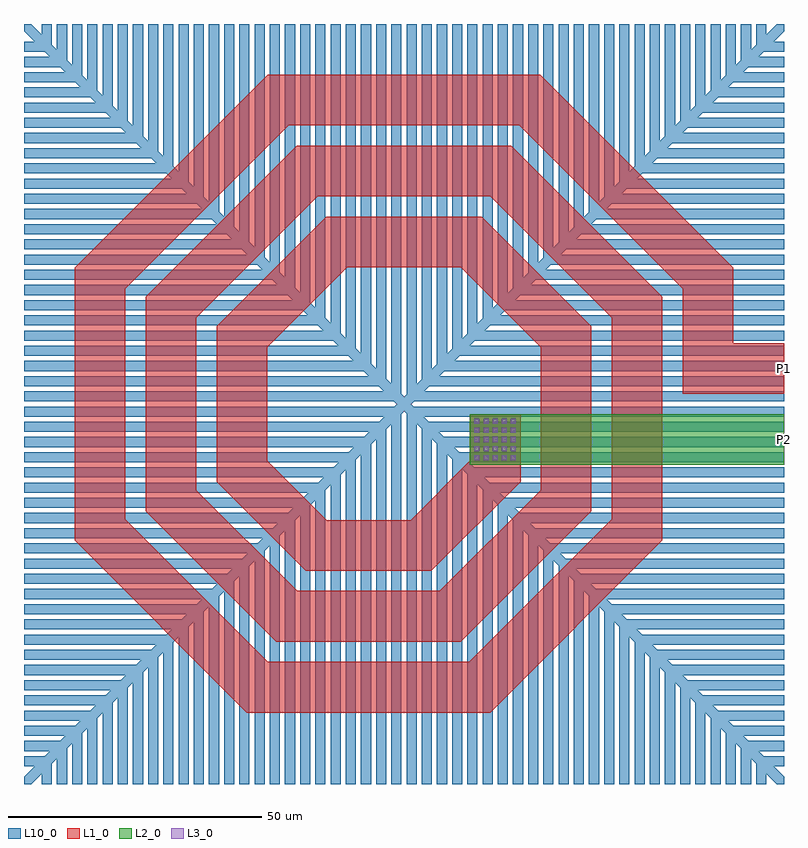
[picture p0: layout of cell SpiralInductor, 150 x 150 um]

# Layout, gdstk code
import gdstk
lib = gdstk.Library(unit=1e-6, precision=1e-09)
def R(c, l, rs):  # rectangles x0, y0, x1, y1
    for r in rs: c.add(gdstk.rectangle(r[:2], r[2:], *l))
def A(c, l, x, y, w, h, nx, ny, dx, dy):  # array of equal rectangles
    R(c, l, [(x+i*dx, y+j*dy, x+i*dx+w, y+j*dy+h) for i in range(nx) for j in range(ny)])
def P(c, l, *ps):  # polygons
    for p in ps: c.add(gdstk.Polygon(p, *l))
L1_0 = (1, 0)
L2_0 = (2, 0)
L3_0 = (3, 0)
L10_0 = (10, 0)

spiralinductor = lib.new_cell('SpiralInductor')
P(spiralinductor, L1_0, [(75,12),(65,12),(65,26.924),(26.924,65),(-26.924,65),(-65,26.924),(-65,-26.924),(-31.024,-60.899),(17.024,-60.899),(51,-26.924),(51,21.125),(21.125,51),(-21.125,51),(-51,21.125),(-51,-21.125),(-25.225,-46.899),(11.225,-46.899),(37,-21.125),(37,15.326),(15.326,37),(-15.326,37),(-37,15.326),(-37,-15.326),(-19.426,-32.899),(5.426,-32.899),(23,-15.326),(23,-2),(13,-2),(13,-11.184),(1.284,-22.899),(-15.284,-22.899),(-27,-11.184),(-27,11.184),(-11.184,27),(11.184,27),(27,11.184),(27,-16.983),(7.083,-36.899),(-21.083,-36.899),(-41,-16.983),(-41,16.983),(-16.983,41),(16.983,41),(41,16.983),(41,-22.782),(12.882,-50.899),(-26.882,-50.899),(-55,-22.782),(-55,22.782),(-22.782,55),(22.782,55),(55,22.782),(55,2),(75,2)])
R(spiralinductor, L2_0, [(13,-12,75,-2)])
A(spiralinductor, L3_0, 13.9, -11.1, 1, 1, 5, 5, 1.8, 1.8)
P(spiralinductor, L10_0, [(-1.914,0.5),(-75,0.5),(-75,2.5),(-3.914,2.5)],
  [(1.914,0.5),(75,0.5),(75,2.5),(3.914,2.5)],
  [(-1.914,-0.5),(-75,-0.5),(-75,-2.5),(-3.914,-2.5)],
  [(1.914,-0.5),(75,-0.5),(75,-2.5),(3.914,-2.5)],
  [(0.5,-1.914),(0.5,-75),(2.5,-75),(2.5,-3.914)],
  [(-0.5,-1.914),(-0.5,-75),(-2.5,-75),(-2.5,-3.914)],
  [(0.5,1.914),(0.5,75),(2.5,75),(2.5,3.914)],
  [(-0.5,1.914),(-0.5,75),(-2.5,75),(-2.5,3.914)],
  [(-4.914,3.5),(-75,3.5),(-75,5.5),(-6.914,5.5)],
  [(4.914,3.5),(75,3.5),(75,5.5),(6.914,5.5)],
  [(-4.914,-3.5),(-75,-3.5),(-75,-5.5),(-6.914,-5.5)],
  [(4.914,-3.5),(75,-3.5),(75,-5.5),(6.914,-5.5)],
  [(3.5,-4.914),(3.5,-75),(5.5,-75),(5.5,-6.914)],
  [(-3.5,-4.914),(-3.5,-75),(-5.5,-75),(-5.5,-6.914)],
  [(3.5,4.914),(3.5,75),(5.5,75),(5.5,6.914)],
  [(-3.5,4.914),(-3.5,75),(-5.5,75),(-5.5,6.914)],
  [(-7.914,6.5),(-75,6.5),(-75,8.5),(-9.914,8.5)],
  [(7.914,6.5),(75,6.5),(75,8.5),(9.914,8.5)],
  [(-7.914,-6.5),(-75,-6.5),(-75,-8.5),(-9.914,-8.5)],
  [(7.914,-6.5),(75,-6.5),(75,-8.5),(9.914,-8.5)],
  [(6.5,-7.914),(6.5,-75),(8.5,-75),(8.5,-9.914)],
  [(-6.5,-7.914),(-6.5,-75),(-8.5,-75),(-8.5,-9.914)],
  [(6.5,7.914),(6.5,75),(8.5,75),(8.5,9.914)],
  [(-6.5,7.914),(-6.5,75),(-8.5,75),(-8.5,9.914)],
  [(-10.914,9.5),(-75,9.5),(-75,11.5),(-12.914,11.5)],
  [(10.914,9.5),(75,9.5),(75,11.5),(12.914,11.5)],
  [(-10.914,-9.5),(-75,-9.5),(-75,-11.5),(-12.914,-11.5)],
  [(10.914,-9.5),(75,-9.5),(75,-11.5),(12.914,-11.5)],
  [(9.5,-10.914),(9.5,-75),(11.5,-75),(11.5,-12.914)],
  [(-9.5,-10.914),(-9.5,-75),(-11.5,-75),(-11.5,-12.914)],
  [(9.5,10.914),(9.5,75),(11.5,75),(11.5,12.914)],
  [(-9.5,10.914),(-9.5,75),(-11.5,75),(-11.5,12.914)],
  [(-13.914,12.5),(-75,12.5),(-75,14.5),(-15.914,14.5)],
  [(13.914,12.5),(75,12.5),(75,14.5),(15.914,14.5)],
  [(-13.914,-12.5),(-75,-12.5),(-75,-14.5),(-15.914,-14.5)],
  [(13.914,-12.5),(75,-12.5),(75,-14.5),(15.914,-14.5)],
  [(12.5,-13.914),(12.5,-75),(14.5,-75),(14.5,-15.914)],
  [(-12.5,-13.914),(-12.5,-75),(-14.5,-75),(-14.5,-15.914)],
  [(12.5,13.914),(12.5,75),(14.5,75),(14.5,15.914)],
  [(-12.5,13.914),(-12.5,75),(-14.5,75),(-14.5,15.914)],
  [(-16.914,15.5),(-75,15.5),(-75,17.5),(-18.914,17.5)],
  [(16.914,15.5),(75,15.5),(75,17.5),(18.914,17.5)],
  [(-16.914,-15.5),(-75,-15.5),(-75,-17.5),(-18.914,-17.5)],
  [(16.914,-15.5),(75,-15.5),(75,-17.5),(18.914,-17.5)],
  [(15.5,-16.914),(15.5,-75),(17.5,-75),(17.5,-18.914)],
  [(-15.5,-16.914),(-15.5,-75),(-17.5,-75),(-17.5,-18.914)],
  [(15.5,16.914),(15.5,75),(17.5,75),(17.5,18.914)],
  [(-15.5,16.914),(-15.5,75),(-17.5,75),(-17.5,18.914)],
  [(-19.914,18.5),(-75,18.5),(-75,20.5),(-21.914,20.5)],
  [(19.914,18.5),(75,18.5),(75,20.5),(21.914,20.5)],
  [(-19.914,-18.5),(-75,-18.5),(-75,-20.5),(-21.914,-20.5)],
  [(19.914,-18.5),(75,-18.5),(75,-20.5),(21.914,-20.5)],
  [(18.5,-19.914),(18.5,-75),(20.5,-75),(20.5,-21.914)],
  [(-18.5,-19.914),(-18.5,-75),(-20.5,-75),(-20.5,-21.914)],
  [(18.5,19.914),(18.5,75),(20.5,75),(20.5,21.914)],
  [(-18.5,19.914),(-18.5,75),(-20.5,75),(-20.5,21.914)],
  [(-22.914,21.5),(-75,21.5),(-75,23.5),(-24.914,23.5)],
  [(22.914,21.5),(75,21.5),(75,23.5),(24.914,23.5)],
  [(-22.914,-21.5),(-75,-21.5),(-75,-23.5),(-24.914,-23.5)],
  [(22.914,-21.5),(75,-21.5),(75,-23.5),(24.914,-23.5)],
  [(21.5,-22.914),(21.5,-75),(23.5,-75),(23.5,-24.914)],
  [(-21.5,-22.914),(-21.5,-75),(-23.5,-75),(-23.5,-24.914)],
  [(21.5,22.914),(21.5,75),(23.5,75),(23.5,24.914)],
  [(-21.5,22.914),(-21.5,75),(-23.5,75),(-23.5,24.914)],
  [(-25.914,24.5),(-75,24.5),(-75,26.5),(-27.914,26.5)],
  [(25.914,24.5),(75,24.5),(75,26.5),(27.914,26.5)],
  [(-25.914,-24.5),(-75,-24.5),(-75,-26.5),(-27.914,-26.5)],
  [(25.914,-24.5),(75,-24.5),(75,-26.5),(27.914,-26.5)],
  [(24.5,-25.914),(24.5,-75),(26.5,-75),(26.5,-27.914)],
  [(-24.5,-25.914),(-24.5,-75),(-26.5,-75),(-26.5,-27.914)],
  [(24.5,25.914),(24.5,75),(26.5,75),(26.5,27.914)],
  [(-24.5,25.914),(-24.5,75),(-26.5,75),(-26.5,27.914)],
  [(-28.914,27.5),(-75,27.5),(-75,29.5),(-30.914,29.5)],
  [(28.914,27.5),(75,27.5),(75,29.5),(30.914,29.5)],
  [(-28.914,-27.5),(-75,-27.5),(-75,-29.5),(-30.914,-29.5)],
  [(28.914,-27.5),(75,-27.5),(75,-29.5),(30.914,-29.5)],
  [(27.5,-28.914),(27.5,-75),(29.5,-75),(29.5,-30.914)],
  [(-27.5,-28.914),(-27.5,-75),(-29.5,-75),(-29.5,-30.914)],
  [(27.5,28.914),(27.5,75),(29.5,75),(29.5,30.914)],
  [(-27.5,28.914),(-27.5,75),(-29.5,75),(-29.5,30.914)],
  [(-31.914,30.5),(-75,30.5),(-75,32.5),(-33.914,32.5)],
  [(31.914,30.5),(75,30.5),(75,32.5),(33.914,32.5)],
  [(-31.914,-30.5),(-75,-30.5),(-75,-32.5),(-33.914,-32.5)],
  [(31.914,-30.5),(75,-30.5),(75,-32.5),(33.914,-32.5)],
  [(30.5,-31.914),(30.5,-75),(32.5,-75),(32.5,-33.914)],
  [(-30.5,-31.914),(-30.5,-75),(-32.5,-75),(-32.5,-33.914)],
  [(30.5,31.914),(30.5,75),(32.5,75),(32.5,33.914)],
  [(-30.5,31.914),(-30.5,75),(-32.5,75),(-32.5,33.914)],
  [(-34.914,33.5),(-75,33.5),(-75,35.5),(-36.914,35.5)],
  [(34.914,33.5),(75,33.5),(75,35.5),(36.914,35.5)],
  [(-34.914,-33.5),(-75,-33.5),(-75,-35.5),(-36.914,-35.5)],
  [(34.914,-33.5),(75,-33.5),(75,-35.5),(36.914,-35.5)],
  [(33.5,-34.914),(33.5,-75),(35.5,-75),(35.5,-36.914)],
  [(-33.5,-34.914),(-33.5,-75),(-35.5,-75),(-35.5,-36.914)],
  [(33.5,34.914),(33.5,75),(35.5,75),(35.5,36.914)],
  [(-33.5,34.914),(-33.5,75),(-35.5,75),(-35.5,36.914)],
  [(-37.914,36.5),(-75,36.5),(-75,38.5),(-39.914,38.5)],
  [(37.914,36.5),(75,36.5),(75,38.5),(39.914,38.5)],
  [(-37.914,-36.5),(-75,-36.5),(-75,-38.5),(-39.914,-38.5)],
  [(37.914,-36.5),(75,-36.5),(75,-38.5),(39.914,-38.5)],
  [(36.5,-37.914),(36.5,-75),(38.5,-75),(38.5,-39.914)],
  [(-36.5,-37.914),(-36.5,-75),(-38.5,-75),(-38.5,-39.914)],
  [(36.5,37.914),(36.5,75),(38.5,75),(38.5,39.914)],
  [(-36.5,37.914),(-36.5,75),(-38.5,75),(-38.5,39.914)],
  [(-40.914,39.5),(-75,39.5),(-75,41.5),(-42.914,41.5)],
  [(40.914,39.5),(75,39.5),(75,41.5),(42.914,41.5)],
  [(-40.914,-39.5),(-75,-39.5),(-75,-41.5),(-42.914,-41.5)],
  [(40.914,-39.5),(75,-39.5),(75,-41.5),(42.914,-41.5)],
  [(39.5,-40.914),(39.5,-75),(41.5,-75),(41.5,-42.914)],
  [(-39.5,-40.914),(-39.5,-75),(-41.5,-75),(-41.5,-42.914)],
  [(39.5,40.914),(39.5,75),(41.5,75),(41.5,42.914)],
  [(-39.5,40.914),(-39.5,75),(-41.5,75),(-41.5,42.914)],
  [(-43.914,42.5),(-75,42.5),(-75,44.5),(-45.914,44.5)],
  [(43.914,42.5),(75,42.5),(75,44.5),(45.914,44.5)],
  [(-43.914,-42.5),(-75,-42.5),(-75,-44.5),(-45.914,-44.5)],
  [(43.914,-42.5),(75,-42.5),(75,-44.5),(45.914,-44.5)],
  [(42.5,-43.914),(42.5,-75),(44.5,-75),(44.5,-45.914)],
  [(-42.5,-43.914),(-42.5,-75),(-44.5,-75),(-44.5,-45.914)],
  [(42.5,43.914),(42.5,75),(44.5,75),(44.5,45.914)],
  [(-42.5,43.914),(-42.5,75),(-44.5,75),(-44.5,45.914)],
  [(-46.914,45.5),(-75,45.5),(-75,47.5),(-48.914,47.5)],
  [(46.914,45.5),(75,45.5),(75,47.5),(48.914,47.5)],
  [(-46.914,-45.5),(-75,-45.5),(-75,-47.5),(-48.914,-47.5)],
  [(46.914,-45.5),(75,-45.5),(75,-47.5),(48.914,-47.5)],
  [(45.5,-46.914),(45.5,-75),(47.5,-75),(47.5,-48.914)],
  [(-45.5,-46.914),(-45.5,-75),(-47.5,-75),(-47.5,-48.914)],
  [(45.5,46.914),(45.5,75),(47.5,75),(47.5,48.914)],
  [(-45.5,46.914),(-45.5,75),(-47.5,75),(-47.5,48.914)],
  [(-49.914,48.5),(-75,48.5),(-75,50.5),(-51.914,50.5)],
  [(49.914,48.5),(75,48.5),(75,50.5),(51.914,50.5)],
  [(-49.914,-48.5),(-75,-48.5),(-75,-50.5),(-51.914,-50.5)],
  [(49.914,-48.5),(75,-48.5),(75,-50.5),(51.914,-50.5)],
  [(48.5,-49.914),(48.5,-75),(50.5,-75),(50.5,-51.914)],
  [(-48.5,-49.914),(-48.5,-75),(-50.5,-75),(-50.5,-51.914)],
  [(48.5,49.914),(48.5,75),(50.5,75),(50.5,51.914)],
  [(-48.5,49.914),(-48.5,75),(-50.5,75),(-50.5,51.914)],
  [(-52.914,51.5),(-75,51.5),(-75,53.5),(-54.914,53.5)],
  [(52.914,51.5),(75,51.5),(75,53.5),(54.914,53.5)],
  [(-52.914,-51.5),(-75,-51.5),(-75,-53.5),(-54.914,-53.5)],
  [(52.914,-51.5),(75,-51.5),(75,-53.5),(54.914,-53.5)],
  [(51.5,-52.914),(51.5,-75),(53.5,-75),(53.5,-54.914)],
  [(-51.5,-52.914),(-51.5,-75),(-53.5,-75),(-53.5,-54.914)],
  [(51.5,52.914),(51.5,75),(53.5,75),(53.5,54.914)],
  [(-51.5,52.914),(-51.5,75),(-53.5,75),(-53.5,54.914)],
  [(-55.914,54.5),(-75,54.5),(-75,56.5),(-57.914,56.5)],
  [(55.914,54.5),(75,54.5),(75,56.5),(57.914,56.5)],
  [(-55.914,-54.5),(-75,-54.5),(-75,-56.5),(-57.914,-56.5)],
  [(55.914,-54.5),(75,-54.5),(75,-56.5),(57.914,-56.5)],
  [(54.5,-55.914),(54.5,-75),(56.5,-75),(56.5,-57.914)],
  [(-54.5,-55.914),(-54.5,-75),(-56.5,-75),(-56.5,-57.914)],
  [(54.5,55.914),(54.5,75),(56.5,75),(56.5,57.914)],
  [(-54.5,55.914),(-54.5,75),(-56.5,75),(-56.5,57.914)],
  [(-58.914,57.5),(-75,57.5),(-75,59.5),(-60.914,59.5)],
  [(58.914,57.5),(75,57.5),(75,59.5),(60.914,59.5)],
  [(-58.914,-57.5),(-75,-57.5),(-75,-59.5),(-60.914,-59.5)],
  [(58.914,-57.5),(75,-57.5),(75,-59.5),(60.914,-59.5)],
  [(57.5,-58.914),(57.5,-75),(59.5,-75),(59.5,-60.914)],
  [(-57.5,-58.914),(-57.5,-75),(-59.5,-75),(-59.5,-60.914)],
  [(57.5,58.914),(57.5,75),(59.5,75),(59.5,60.914)],
  [(-57.5,58.914),(-57.5,75),(-59.5,75),(-59.5,60.914)],
  [(-61.914,60.5),(-75,60.5),(-75,62.5),(-63.914,62.5)],
  [(61.914,60.5),(75,60.5),(75,62.5),(63.914,62.5)],
  [(-61.914,-60.5),(-75,-60.5),(-75,-62.5),(-63.914,-62.5)],
  [(61.914,-60.5),(75,-60.5),(75,-62.5),(63.914,-62.5)],
  [(60.5,-61.914),(60.5,-75),(62.5,-75),(62.5,-63.914)],
  [(-60.5,-61.914),(-60.5,-75),(-62.5,-75),(-62.5,-63.914)],
  [(60.5,61.914),(60.5,75),(62.5,75),(62.5,63.914)],
  [(-60.5,61.914),(-60.5,75),(-62.5,75),(-62.5,63.914)],
  [(-64.914,63.5),(-75,63.5),(-75,65.5),(-66.914,65.5)],
  [(64.914,63.5),(75,63.5),(75,65.5),(66.914,65.5)],
  [(-64.914,-63.5),(-75,-63.5),(-75,-65.5),(-66.914,-65.5)],
  [(64.914,-63.5),(75,-63.5),(75,-65.5),(66.914,-65.5)],
  [(63.5,-64.914),(63.5,-75),(65.5,-75),(65.5,-66.914)],
  [(-63.5,-64.914),(-63.5,-75),(-65.5,-75),(-65.5,-66.914)],
  [(63.5,64.914),(63.5,75),(65.5,75),(65.5,66.914)],
  [(-63.5,64.914),(-63.5,75),(-65.5,75),(-65.5,66.914)],
  [(-67.914,66.5),(-75,66.5),(-75,68.5),(-69.914,68.5)],
  [(67.914,66.5),(75,66.5),(75,68.5),(69.914,68.5)],
  [(-67.914,-66.5),(-75,-66.5),(-75,-68.5),(-69.914,-68.5)],
  [(67.914,-66.5),(75,-66.5),(75,-68.5),(69.914,-68.5)],
  [(66.5,-67.914),(66.5,-75),(68.5,-75),(68.5,-69.914)],
  [(-66.5,-67.914),(-66.5,-75),(-68.5,-75),(-68.5,-69.914)],
  [(66.5,67.914),(66.5,75),(68.5,75),(68.5,69.914)],
  [(-66.5,67.914),(-66.5,75),(-68.5,75),(-68.5,69.914)],
  [(-70.914,69.5),(-75,69.5),(-75,71.5),(-72.914,71.5)],
  [(70.914,69.5),(75,69.5),(75,71.5),(72.914,71.5)],
  [(-70.914,-69.5),(-75,-69.5),(-75,-71.5),(-72.914,-71.5)],
  [(70.914,-69.5),(75,-69.5),(75,-71.5),(72.914,-71.5)],
  [(69.5,-70.914),(69.5,-75),(71.5,-75),(71.5,-72.914)],
  [(-69.5,-70.914),(-69.5,-75),(-71.5,-75),(-71.5,-72.914)],
  [(69.5,70.914),(69.5,75),(71.5,75),(71.5,72.914)],
  [(-69.5,70.914),(-69.5,75),(-71.5,75),(-71.5,72.914)],
  [(75,75),(73.586,75),(0,1.414),(0,0),(1.414,0),(75,73.586)],
  [(-75,75),(-73.586,75),(0,1.414),(0,0),(-1.414,0),(-75,73.586)],
  [(-75,-75),(-73.586,-75),(0,-1.414),(0,0),(-1.414,0),(-75,-73.586)],
  [(75,-75),(73.586,-75),(0,-1.414),(0,0),(1.414,0),(75,-73.586)])
spiralinductor.add(gdstk.Label('P1', (75,7), layer=1, texttype=0))
spiralinductor.add(gdstk.Label('P2', (75,-7), layer=2, texttype=0))

lib.write_gds('SpiralInductor.gds')
